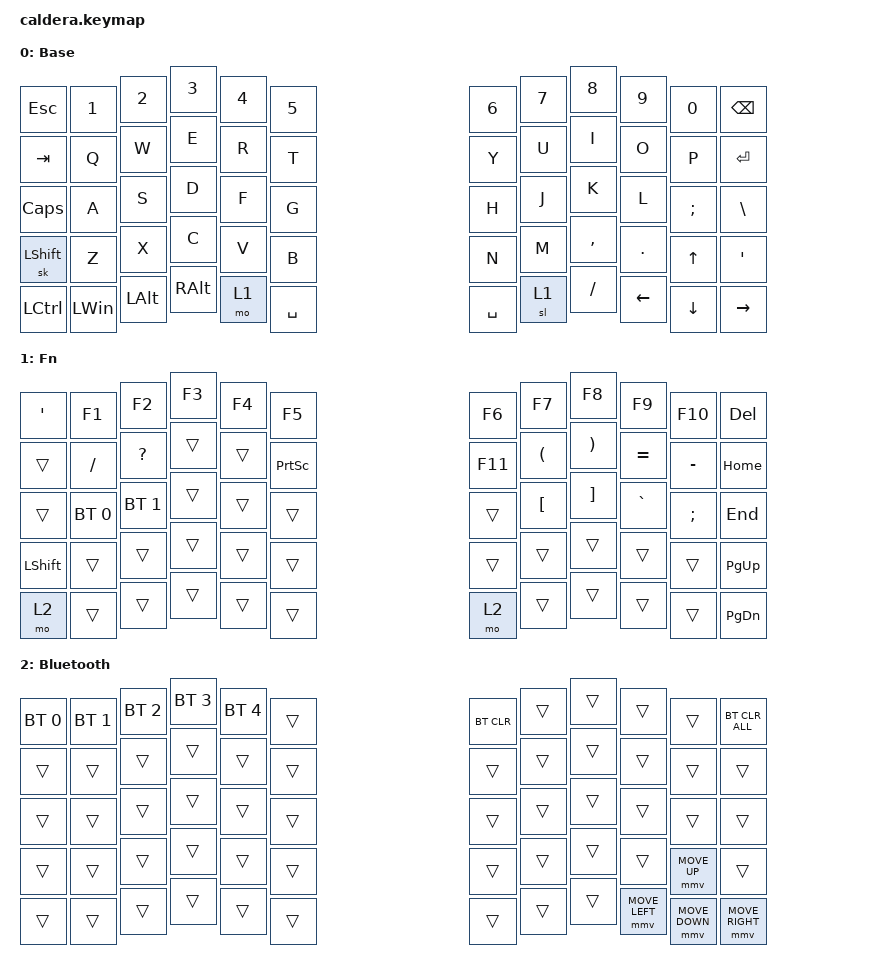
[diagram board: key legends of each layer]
#include <behaviors.dtsi>
#include <dt-bindings/zmk/bt.h>
#include <dt-bindings/zmk/keys.h>
#include <dt-bindings/zmk/pointing.h>

/ {
    keymap {
        compatible = "zmk,keymap";

        default_layer {
            display-name = "Base";
            // ---------------------------------------------------------------------------------
            // |   `  |  1  |  2  |  3  |  4  |  5  |     |  6  |  7  |  8  |  9  |  0  | BKSP |
            // |  TAB |  Q  |  W  |  E  |  R  |  T  |     |  Y  |  U  |  I  |  O  |  P  |  \   |
            // | CAPS |  A  |  S  |  D  |  F  |  G  |     |  H  |  J  |  K  |  L  |  ;  |  ENT |
            // | SHFT |  Z  |  X  |  C  |  V  |  B  |     |  N  |  M  |  ,  |  .  |  /  | APOS |
            // | CTRL | ALT | GUI | SPC | SPC | SPC |     | SPC | LOW |LARW |DARW |UARW | RARW |

            bindings = <
&kp ESCAPE  &kp N1        &kp N2        &kp N3         &kp N4  &kp N5       &kp N6     &kp N7  &kp N8     &kp N9    &kp N0        &kp BSPC
&kp TAB     &kp Q         &kp W         &kp E          &kp R   &kp T        &kp Y      &kp U   &kp I      &kp O     &kp P         &kp ENTER
&kp CAPS    &kp A         &kp S         &kp D          &kp F   &kp G        &kp H      &kp J   &kp K      &kp L     &kp SEMI      &kp BACKSLASH
&sk LSHFT   &kp Z         &kp X         &kp C          &kp V   &kp B        &kp N      &kp M   &kp COMMA  &kp DOT   &kp UP_ARROW  &kp APOSTROPHE
&kp LCTRL   &kp LEFT_WIN  &kp LEFT_ALT  &kp RIGHT_ALT  &mo 1   &kp SPACE    &kp SPACE  &sl 1   &kp SLASH  &kp LEFT  &kp DOWN      &kp RIGHT_ARROW
            >;
        };

        layer_2 {
            display-name = "Fn";
            bindings = <
&kp SINGLE_QUOTE  &kp F1     &kp F2        &kp F3  &kp F4  &kp F5             &kp F6   &kp F7                &kp F8                 &kp F9     &kp F10        &kp DEL
&trans            &kp SLASH  &kp QUESTION  &trans  &trans  &kp PRINTSCREEN    &kp F11  &kp LEFT_PARENTHESIS  &kp RIGHT_PARENTHESIS  &kp EQUAL  &kp MINUS      &kp HOME
&trans            &bt BT_SEL 0  &bt BT_SEL 1  &trans  &trans  &trans             &trans   &kp LEFT_BRACKET      &kp RIGHT_BRACKET      &kp GRAVE  &kp SEMICOLON  &kp END
&kp LEFT_SHIFT    &trans     &trans        &trans  &trans  &trans             &trans   &trans                &trans                 &trans     &trans         &kp PAGE_UP
&mo 2             &trans     &trans        &trans  &trans  &trans             &mo 2    &trans                &trans                 &trans     &trans         &kp PAGE_DOWN
            >;
        };

        bluetooth {
            display-name = "Bluetooth";
            bindings = <
&bt BT_SEL 0  &bt BT_SEL 1  &bt BT_SEL 2  &bt BT_SEL 3  &bt BT_SEL 4  &trans    &bt BT_CLR  &trans  &trans  &trans          &trans          &bt BT_CLR_ALL
&trans        &trans        &trans        &trans        &trans        &trans    &trans      &trans  &trans  &trans          &trans          &trans
&trans        &trans        &trans        &trans        &trans        &trans    &trans      &trans  &trans  &trans          &trans          &trans
&trans        &trans        &trans        &trans        &trans        &trans    &trans      &trans  &trans  &trans          &mmv MOVE_UP    &trans
&trans        &trans        &trans        &trans        &trans        &trans    &trans      &trans  &trans  &mmv MOVE_LEFT  &mmv MOVE_DOWN  &mmv MOVE_RIGHT
            >;
        };
    };
};
